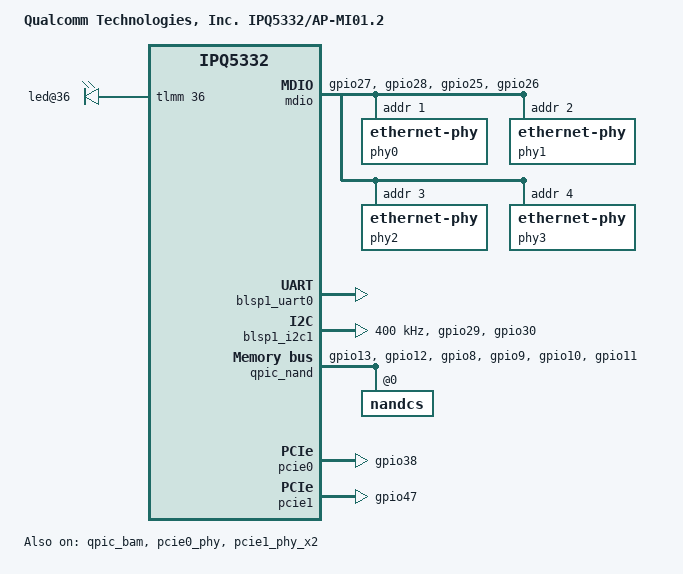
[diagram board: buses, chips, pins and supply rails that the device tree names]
// SPDX-License-Identifier: BSD-3-Clause
/*
 * IPQ5332 AP-MI01.2 board device tree source
 *
 * Copyright (c) 2022-2023 Qualcomm Innovation Center, Inc. All rights reserved.
 */

/dts-v1/;

#include <dt-bindings/gpio/gpio.h>
#include "ipq5332.dtsi"

/ {
	model = "Qualcomm Technologies, Inc. IPQ5332/AP-MI01.2";
	compatible = "qcom,ipq5332-ap-mi01.2", "qcom,ipq5332";

	aliases {
		serial0 = &blsp1_uart0;
	};

	chosen {
		stdout-path = "serial0";
	};

	soc@0 {
		mdio:mdio@90000 {
			pinctrl-0 = <&mdio1_pins &mdio0_pins>;
			pinctrl-names = "default";
			/*gpio51 for manhattan reset*/
			phy-reset-gpio = <&tlmm 51 GPIO_ACTIVE_LOW>;
			phyaddr_fixup = <0xC90F018>;
			uniphyaddr_fixup = <0xC90F014>;
			mdio_clk_fixup; /* MDIO clock sequence fix up flag */
			status = "okay";

			phy0: ethernet-phy@0 {
				reg = <1>;
				fixup;
			};
			phy1: ethernet-phy@1 {
				reg = <2>;
				fixup;
			};
			phy2: ethernet-phy@2 {
				reg = <3>;
				fixup;
			};
			phy3: ethernet-phy@3 {
				reg = <4>;
				fixup;
			};
		};

		leds {
			compatible = "gpio-leds";
			pinctrl-0 = <&leds_pins>;
			pinctrl-names = "default";
			led@36 {
				gpios = <&tlmm 36 GPIO_ACTIVE_HIGH>;
				linux,default-trigger = "led_2g";
				default-state = "off";
			};
		};

		ess-instance {
			num_devices = <0x2>;

			ess-switch@3a000000 {
				pinctrl-0 = <&sfp_pins>;
				pinctrl-names = "default";
				switch_cpu_bmp = <0x1>;  /* cpu port bitmap */
				switch_lan_bmp = <0x2>; /* lan port bitmap */
				switch_wan_bmp = <0x4>; /* wan port bitmap */
				switch_mac_mode = <0xc>; /* mac mode for uniphy instance0*/
				switch_mac_mode1 = <0xe>; /* mac mode for uniphy instance1*/
				switch_mac_mode2 = <0xff>; /* mac mode for uniphy instance2*/

				qcom,port_phyinfo {
					port@0 {
						port_id = <1>;
						forced-speed = <2500>;
						forced-duplex = <1>;
					};
					port@1 {
						port_id = <2>;
						phy_address = <30>;
						media-type = "sfp"; /* fiber mode */
						sfp_rx_los_pin = <&tlmm 45 GPIO_ACTIVE_HIGH>;
						sfp_tx_dis_pin = <&tlmm 24 GPIO_ACTIVE_HIGH>;
					};
				};
			};

			ess-switch1@1 {
				compatible = "qcom,ess-switch-qca8386";
				device_id = <1>;
				switch_access_mode = "mdio";
				mdio-bus = <&mdio>;
				switch_mac_mode = <0xc>; /* mac mode for uniphy instance0 */
				switch_mac_mode1 = <0xff>; /* mac mode1 for uniphy instance1 */
				switch_cpu_bmp = <0x1>;  /* cpu port bitmap */
				switch_lan_bmp = <0x1e>; /* lan port bitmap */
				switch_wan_bmp = <0x0>;  /* wan port bitmap */
				link-polling-required = <0>;
				link-intr-gpio = <&tlmm 23 GPIO_ACTIVE_HIGH>;

				qcom,port_phyinfo {
					port@0 {
						port_id = <0>;
						forced-speed = <2500>;
						forced-duplex = <1>;
					};
					port@1 {
						port_id = <1>;
						phy_address = <1>;
					};
					port@2 {
						port_id = <2>;
						phy_address = <2>;
					};
					port@3 {
						port_id = <3>;
						phy_address = <3>;
					};
					port@4 {
						port_id = <4>;
						phy_address = <4>;
					};
				};

				led_source@2 {
					source = <2>;
					mode = "normal";
					speed = "all";
					blink_en = "enable";
					active = "high";
				};
				led_source@5 {
					source = <5>;
					mode = "normal";
					speed = "all";
					blink_en = "enable";
					active = "high";
				};
				led_source@8 {
					source = <8>;
					mode = "normal";
					speed = "all";
					blink_en = "enable";
					active = "high";
				};
				led_source@11 {
					source = <11>;
					mode = "normal";
					speed = "all";
					blink_en = "enable";
					active = "high";
				};
			};
		};
	};
};

&blsp1_uart0 {
	pinctrl-0 = <&serial_0_pins>;
	pinctrl-names = "default";
	status = "okay";
};

&sdhc {
	bus-width = <4>;
	max-frequency = <192000000>;
	mmc-ddr-1_8v;
	mmc-hs200-1_8v;
	non-removable;
	pinctrl-0 = <&sdc_default_state>;
	pinctrl-names = "default";
	status = "disabled";
};

&blsp1_i2c1 {
	clock-frequency  = <400000>;
	pinctrl-0 = <&i2c_1_pins>;
	pinctrl-names = "default";
	status = "okay";
};

&sleep_clk {
	clock-frequency = <32000>;
};

&xo_board {
	clock-frequency = <24000000>;
};

&qpic_bam {
	status = "okay";
};

&qpic_nand {
	pinctrl-0 = <&qspi_default_state>;
	pinctrl-names = "default";
	status = "okay";

	nandcs@0 {
		reg = <0>;
		#address-cells = <1>;
		#size-cells = <1>;

		nand-ecc-strength = <8>;
		nand-ecc-step-size = <512>;
		nand-bus-width = <8>;
	};
};

&pcie0_phy {
	status = "okay";
};

&pcie0 {
	pinctrl-0 = <&pcie0_default_state>;
	pinctrl-names = "default";
	perst-gpios = <&tlmm 38 GPIO_ACTIVE_LOW>;
	status = "okay";
};

&pcie1_phy_x2 {
	status = "okay";
};

&pcie1 {
	pinctrl-0 = <&pcie1_default_state>;
	pinctrl-names = "default";
	perst-gpios = <&tlmm 47 GPIO_ACTIVE_LOW>;
	status = "okay";
};

/* PINCTRL */

&tlmm {
	sdc_default_state: sdc-default-state {
		clk-pins {
			pins = "gpio13";
			function = "sdc_clk";
			drive-strength = <8>;
			bias-disable;
		};

		cmd-pins {
			pins = "gpio12";
			function = "sdc_cmd";
			drive-strength = <8>;
			bias-pull-up;
		};

		data-pins {
			pins = "gpio8", "gpio9", "gpio10", "gpio11";
			function = "sdc_data";
			drive-strength = <8>;
			bias-pull-up;
		};
	};

	qspi_default_state: qspi-default-state {
		qspi_clock {
			pins = "gpio13";
			function = "qspi_clk";
			drive-strength = <8>;
			bias-pull-down;
		};

		qspi_cs {
			pins = "gpio12";
			function = "qspi_cs";
			drive-strength = <8>;
			bias-pull-up;
		};

		qspi_data {
			pins = "gpio8", "gpio9", "gpio10", "gpio11";
			function = "qspi_data";
			drive-strength = <8>;
			bias-pull-down;
		};
	};

	i2c_1_pins: i2c-1-state {
		pins = "gpio29", "gpio30";
		function = "blsp1_i2c0";
		drive-strength = <8>;
		bias-pull-up;
	};

	leds_pins: leds-state {
		pins = "gpio36";
		function = "gpio";
		drive-strength = <8>;
		bias-pull-down;
	};

	pcie0_default_state: pcie0-default-state {
		pins = "gpio38";
		function = "gpio";
		drive-strength = <8>;
		bias-pull-up;
		output-low;
	};

	pcie1_default_state: pcie1-default-state {
		pins = "gpio47";
		function = "gpio";
		drive-strength = <8>;
		bias-pull-up;
		output-low;
	};

	mdio0_pins: mdio0-state {
		mux_0 {
			pins = "gpio25";
			function = "mdc0";
			drive-strength = <8>;
			bias-disable;
		};
		mux_1 {
			pins = "gpio26";
			function = "mdio0";
			drive-strength = <8>;
			bias-pull-up;
		};
	};

	mdio1_pins: mdio1-state {
		mux_0 {
			pins = "gpio27";
			function = "mdc1";
			drive-strength = <8>;
			bias-disable;
		};
		mux_1 {
			pins = "gpio28";
			function = "mdio1";
			drive-strength = <8>;
			bias-pull-up;
		};
	};

	sfp_pins: sfp-state {
		sfp_rx {
			pins = "gpio45";
			function = "rx1";
			bias-disable;
		};
		sfp_tx {
			pins = "gpio24";
			function = "gpio";
			drive-strength = <8>;
			bias-pull-down;
			output-low;
		};
	};

};
